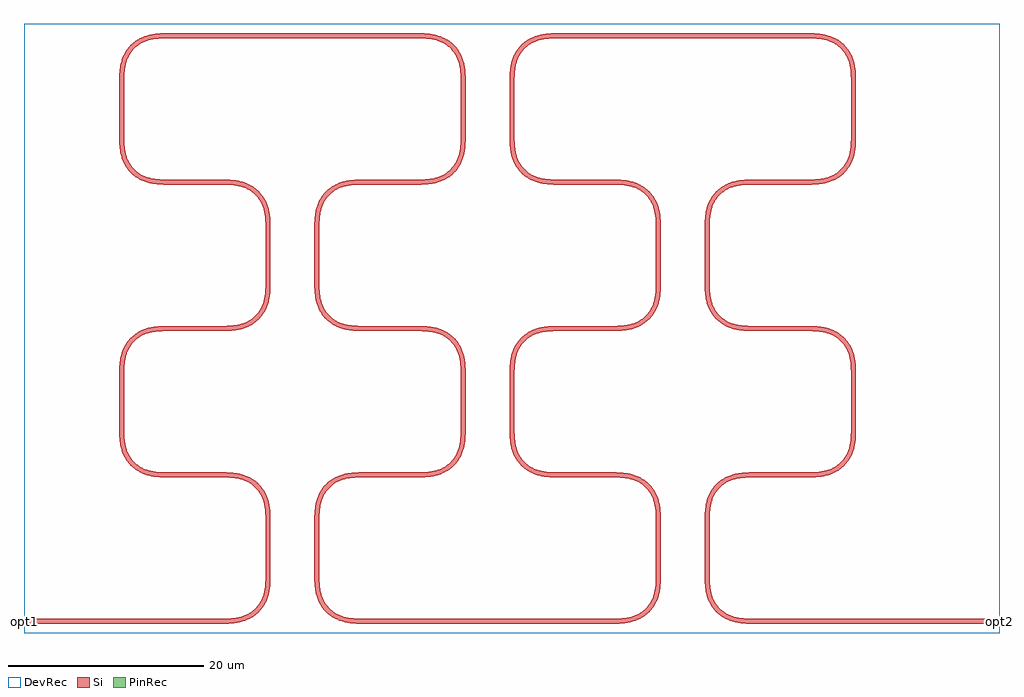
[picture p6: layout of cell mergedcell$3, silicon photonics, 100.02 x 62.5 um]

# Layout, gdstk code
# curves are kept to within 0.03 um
from math import pi, radians
import gdstk
lib = gdstk.Library(unit=1e-6, precision=1e-09)
def R(c, l, rs):  # rectangles x0, y0, x1, y1
    for r in rs: c.add(gdstk.rectangle(r[:2], r[2:], *l))
def P(c, l, *ps):  # polygons
    for p in ps: c.add(gdstk.Polygon(p, *l))
Si = (1, 0)
PinRec = (1, 10)
DevRec = (68, 0)

bend_euler_gdsfactorypco = lib.new_cell('bend_euler_gdsfactorypcomponentspbendspbend_euler_RNone_3d4f7561$3')
P(bend_euler_gdsfactorypco, Si, [(0,-0.25),(0,0.25),(1.36,0.294),(2.268,0.462),(3.02,0.78),(3.699,1.301),(4.22,1.98),(4.538,2.732),(4.706,3.64),(4.75,5),(5.25,5),(5.203,3.59),(5.018,2.592),(4.653,1.73),(4.379,1.319),(4.053,0.947),(3.681,0.621),(3.27,0.347),(2.408,-0.018),(1.41,-0.203)])

straight_gdsfactorypcomp = lib.new_cell('straight_gdsfactorypcomponentspwaveguidespstraight_L5_N_c97c2272$3')
R(straight_gdsfactorypcomp, Si, [(0,-0.25,5,0.25)])

c_straight_gdsfactorypcomp = lib.new_cell('straight_gdsfactorypcomponentspwaveguidespstraight_L20__fccdfb5a$3')
R(c_straight_gdsfactorypcomp, Si, [(0,-0.25,20,0.25)])

cutback_bend90_gdsfactor = lib.new_cell('cutback_bend90_gdsfactorypcomponentsppcmspcutback_bend__f9afa1c6$1')
cutback_bend90_gdsfactor.add(gdstk.Reference(bend_euler_gdsfactorypco, (0,0)))
cutback_bend90_gdsfactor.add(gdstk.Reference(straight_gdsfactorypcomp, (5,5), rotation=pi/2))
cutback_bend90_gdsfactor.add(gdstk.Reference(bend_euler_gdsfactorypco, (5,10), rotation=pi/2))
cutback_bend90_gdsfactor.add(gdstk.Reference(straight_gdsfactorypcomp, (0,15), rotation=pi))
cutback_bend90_gdsfactor.add(gdstk.Reference(bend_euler_gdsfactorypco, (-10,20), rotation=3*pi/2))
cutback_bend90_gdsfactor.add(gdstk.Reference(straight_gdsfactorypcomp, (-10,20), rotation=pi/2))
cutback_bend90_gdsfactor.add(gdstk.Reference(bend_euler_gdsfactorypco, (-5,30), rotation=pi))
cutback_bend90_gdsfactor.add(gdstk.Reference(straight_gdsfactorypcomp, (-5,30)))
cutback_bend90_gdsfactor.add(gdstk.Reference(bend_euler_gdsfactorypco, (0,30)))
cutback_bend90_gdsfactor.add(gdstk.Reference(straight_gdsfactorypcomp, (5,35), rotation=pi/2))
cutback_bend90_gdsfactor.add(gdstk.Reference(bend_euler_gdsfactorypco, (5,40), rotation=pi/2))
cutback_bend90_gdsfactor.add(gdstk.Reference(straight_gdsfactorypcomp, (0,45), rotation=pi))
cutback_bend90_gdsfactor.add(gdstk.Reference(bend_euler_gdsfactorypco, (-10,50), rotation=3*pi/2))
cutback_bend90_gdsfactor.add(gdstk.Reference(straight_gdsfactorypcomp, (-10,50), rotation=pi/2))
cutback_bend90_gdsfactor.add(gdstk.Reference(bend_euler_gdsfactorypco, (-5,60), rotation=pi))
cutback_bend90_gdsfactor.add(gdstk.Reference(straight_gdsfactorypcomp, (-5,60)))
cutback_bend90_gdsfactor.add(gdstk.Reference(c_straight_gdsfactorypcomp, (0,60)))
cutback_bend90_gdsfactor.add(gdstk.Reference(bend_euler_gdsfactorypco, (25,55), rotation=pi/2))
cutback_bend90_gdsfactor.add(gdstk.Reference(straight_gdsfactorypcomp, (25,55), rotation=3*pi/2))
cutback_bend90_gdsfactor.add(gdstk.Reference(bend_euler_gdsfactorypco, (20,45)))
cutback_bend90_gdsfactor.add(gdstk.Reference(straight_gdsfactorypcomp, (20,45), rotation=pi))
cutback_bend90_gdsfactor.add(gdstk.Reference(bend_euler_gdsfactorypco, (15,45), rotation=pi))
cutback_bend90_gdsfactor.add(gdstk.Reference(straight_gdsfactorypcomp, (10,40), rotation=3*pi/2))
cutback_bend90_gdsfactor.add(gdstk.Reference(bend_euler_gdsfactorypco, (10,35), rotation=3*pi/2))
cutback_bend90_gdsfactor.add(gdstk.Reference(straight_gdsfactorypcomp, (15,30)))
cutback_bend90_gdsfactor.add(gdstk.Reference(bend_euler_gdsfactorypco, (25,25), rotation=pi/2))
cutback_bend90_gdsfactor.add(gdstk.Reference(straight_gdsfactorypcomp, (25,25), rotation=3*pi/2))
cutback_bend90_gdsfactor.add(gdstk.Reference(bend_euler_gdsfactorypco, (20,15)))
cutback_bend90_gdsfactor.add(gdstk.Reference(straight_gdsfactorypcomp, (20,15), rotation=pi))
cutback_bend90_gdsfactor.add(gdstk.Reference(bend_euler_gdsfactorypco, (15,15), rotation=pi))
cutback_bend90_gdsfactor.add(gdstk.Reference(straight_gdsfactorypcomp, (10,10), rotation=3*pi/2))
cutback_bend90_gdsfactor.add(gdstk.Reference(bend_euler_gdsfactorypco, (10,5), rotation=3*pi/2))
cutback_bend90_gdsfactor.add(gdstk.Reference(straight_gdsfactorypcomp, (15,0)))
cutback_bend90_gdsfactor.add(gdstk.Reference(c_straight_gdsfactorypcomp, (20,0)))
cutback_bend90_gdsfactor.add(gdstk.Reference(bend_euler_gdsfactorypco, (40,0)))
cutback_bend90_gdsfactor.add(gdstk.Reference(straight_gdsfactorypcomp, (45,5), rotation=pi/2))
cutback_bend90_gdsfactor.add(gdstk.Reference(bend_euler_gdsfactorypco, (45,10), rotation=pi/2))
cutback_bend90_gdsfactor.add(gdstk.Reference(straight_gdsfactorypcomp, (40,15), rotation=pi))
cutback_bend90_gdsfactor.add(gdstk.Reference(bend_euler_gdsfactorypco, (30,20), rotation=3*pi/2))
cutback_bend90_gdsfactor.add(gdstk.Reference(straight_gdsfactorypcomp, (30,20), rotation=pi/2))
cutback_bend90_gdsfactor.add(gdstk.Reference(bend_euler_gdsfactorypco, (35,30), rotation=pi))
cutback_bend90_gdsfactor.add(gdstk.Reference(straight_gdsfactorypcomp, (35,30)))
cutback_bend90_gdsfactor.add(gdstk.Reference(bend_euler_gdsfactorypco, (40,30)))
cutback_bend90_gdsfactor.add(gdstk.Reference(straight_gdsfactorypcomp, (45,35), rotation=pi/2))
cutback_bend90_gdsfactor.add(gdstk.Reference(bend_euler_gdsfactorypco, (45,40), rotation=pi/2))
cutback_bend90_gdsfactor.add(gdstk.Reference(straight_gdsfactorypcomp, (40,45), rotation=pi))
cutback_bend90_gdsfactor.add(gdstk.Reference(bend_euler_gdsfactorypco, (30,50), rotation=3*pi/2))
cutback_bend90_gdsfactor.add(gdstk.Reference(straight_gdsfactorypcomp, (30,50), rotation=pi/2))
cutback_bend90_gdsfactor.add(gdstk.Reference(bend_euler_gdsfactorypco, (35,60), rotation=pi))
cutback_bend90_gdsfactor.add(gdstk.Reference(straight_gdsfactorypcomp, (35,60)))
cutback_bend90_gdsfactor.add(gdstk.Reference(c_straight_gdsfactorypcomp, (40,60)))
cutback_bend90_gdsfactor.add(gdstk.Reference(bend_euler_gdsfactorypco, (65,55), rotation=pi/2))
cutback_bend90_gdsfactor.add(gdstk.Reference(straight_gdsfactorypcomp, (65,55), rotation=3*pi/2))
cutback_bend90_gdsfactor.add(gdstk.Reference(bend_euler_gdsfactorypco, (60,45)))
cutback_bend90_gdsfactor.add(gdstk.Reference(straight_gdsfactorypcomp, (60,45), rotation=pi))
cutback_bend90_gdsfactor.add(gdstk.Reference(bend_euler_gdsfactorypco, (55,45), rotation=pi))
cutback_bend90_gdsfactor.add(gdstk.Reference(straight_gdsfactorypcomp, (50,40), rotation=3*pi/2))
cutback_bend90_gdsfactor.add(gdstk.Reference(bend_euler_gdsfactorypco, (50,35), rotation=3*pi/2))
cutback_bend90_gdsfactor.add(gdstk.Reference(straight_gdsfactorypcomp, (55,30)))
cutback_bend90_gdsfactor.add(gdstk.Reference(bend_euler_gdsfactorypco, (65,25), rotation=pi/2))
cutback_bend90_gdsfactor.add(gdstk.Reference(straight_gdsfactorypcomp, (65,25), rotation=3*pi/2))
cutback_bend90_gdsfactor.add(gdstk.Reference(bend_euler_gdsfactorypco, (60,15)))
cutback_bend90_gdsfactor.add(gdstk.Reference(straight_gdsfactorypcomp, (60,15), rotation=pi))
cutback_bend90_gdsfactor.add(gdstk.Reference(bend_euler_gdsfactorypco, (55,15), rotation=pi))
cutback_bend90_gdsfactor.add(gdstk.Reference(straight_gdsfactorypcomp, (50,10), rotation=3*pi/2))
cutback_bend90_gdsfactor.add(gdstk.Reference(bend_euler_gdsfactorypco, (50,5), rotation=3*pi/2))
cutback_bend90_gdsfactor.add(gdstk.Reference(straight_gdsfactorypcomp, (55,0)))

bend_test_w0p5_r5_r2_c4_ = lib.new_cell('bend_test_W0p5_R5_R2_C4_OX0_OY0_OX60_OY0')
bend_test_w0p5_r5_r2_c4_.add(gdstk.Reference(cutback_bend90_gdsfactor, (0,0)))

c_straight_gdsfactorypcomp_ = lib.new_cell('straight_gdsfactorypcomponentspwaveguidespstraight_L20__87ee0427$3')
R(c_straight_gdsfactorypcomp_, Si, [(0,-0.25,20,0.25)])

mergedcell_3 = lib.new_cell('mergedcell$3')
R(mergedcell_3, DevRec, [(-20,-1.25,80,61.25)])
mergedcell_3.add(gdstk.FlexPath([(-19.99,0),(-20.01,0)], 0.5, ends="flush", simple_path=True, layer=1, datatype=10))  # PinRec
mergedcell_3.add(gdstk.FlexPath([(79.99,0),(80.01,0)], 0.5, ends="flush", simple_path=True, layer=1, datatype=10))  # PinRec
mergedcell_3.add(gdstk.Reference(bend_test_w0p5_r5_r2_c4_, (0,0)))
mergedcell_3.add(gdstk.Reference(c_straight_gdsfactorypcomp_, (-20,0)))
mergedcell_3.add(gdstk.Reference(c_straight_gdsfactorypcomp_, (60,0)))
mergedcell_3.add(gdstk.Label('opt1', (-20,0), layer=1, texttype=10))
mergedcell_3.add(gdstk.Label('opt2', (80,0), layer=1, texttype=10))

lib.write_gds('mergedcell_3.gds')
